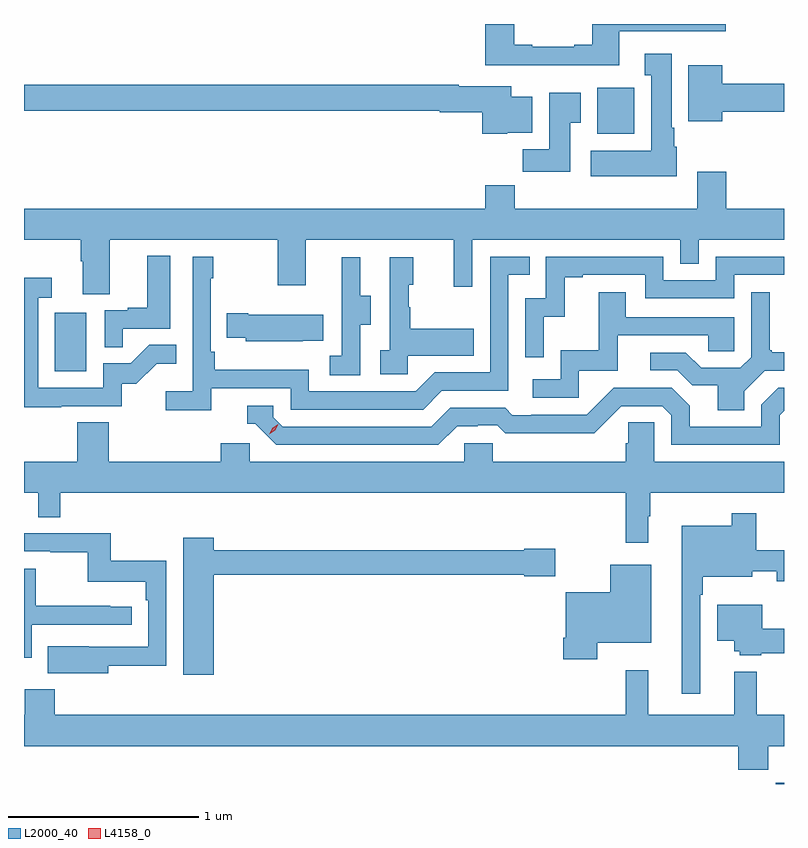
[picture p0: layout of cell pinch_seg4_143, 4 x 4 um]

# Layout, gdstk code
import gdstk
lib = gdstk.Library(unit=1e-6, precision=1e-09)
def R(c, l, rs):  # rectangles x0, y0, x1, y1
    for r in rs: c.add(gdstk.rectangle(r[:2], r[2:], *l))
def P(c, l, *ps):  # polygons
    for p in ps: c.add(gdstk.Polygon(p, *l))
L2000_40 = (2000, 40)
L4158_0 = (4158, 0)

pinch_seg4_143 = lib.new_cell('pinch_seg4_143')
R(pinch_seg4_143, L2000_40, [(1084.42,797.952,1084.463,797.959), (1080.626,800.124,1080.79,800.431), (1083.479,801.374,1083.676,801.616)])
P(pinch_seg4_143, L2000_40, [(1083.595,801.915),(1084.156,801.915),(1084.156,801.952),(1083.455,801.952),(1083.455,801.844),(1083.359,801.844),(1083.359,801.831),(1083.139,801.831),(1083.139,801.844),(1083.043,801.844),(1083.043,801.952),(1082.891,801.952),(1082.891,801.734),(1083.595,801.734)],
  [(1083.898,801.306),(1083.886,801.306),(1083.886,801.406),(1083.871,801.406),(1083.871,801.796),(1083.731,801.796),(1083.731,801.683),(1083.764,801.683),(1083.764,801.286),(1083.447,801.286),(1083.447,801.152),(1083.898,801.152)],
  [(1084.138,801.491),(1084.463,801.491),(1084.463,801.638),(1084.138,801.638),(1084.138,801.736),(1083.959,801.736),(1083.959,801.44),(1084.138,801.44)],
  [(1083.006,801.38),(1083.139,801.38),(1083.139,801.568),(1083.028,801.568),(1083.028,801.625),(1082.752,801.625),(1082.752,801.632),(1080.463,801.632),(1080.463,801.496),(1082.652,801.496),(1082.652,801.488),(1082.876,801.488),(1082.876,801.374),(1083.006,801.374)],
  [(1083.337,801.433),(1083.394,801.433),(1083.394,801.589),(1083.227,801.589),(1083.227,801.292),(1083.088,801.292),(1083.088,801.174),(1083.337,801.174)],
  [(1080.913,800.816),(1081.798,800.816),(1081.798,800.577),(1081.945,800.577),(1081.945,800.816),(1082.726,800.816),(1082.726,800.568),(1082.823,800.568),(1082.823,800.816),(1083.918,800.816),(1083.918,800.689),(1084.014,800.689),(1084.014,800.816),(1084.463,800.816),(1084.463,800.98),(1084.16,800.98),(1084.16,801.175),(1084.007,801.175),(1084.007,800.98),(1083.047,800.98),(1083.047,801.104),(1082.891,801.104),(1082.891,800.98),(1080.463,800.98),(1080.463,800.816),(1080.761,800.816),(1080.761,800.704),(1080.773,800.704),(1080.773,800.53),(1080.913,800.53)],
  [(1080.983,800.349),(1081.234,800.349),(1081.234,800.731),(1081.112,800.731),(1081.112,800.458),(1081.009,800.458),(1081.009,800.445),(1080.888,800.445),(1080.888,800.251),(1080.983,800.251)],
  [(1081.448,800.034),(1081.866,800.034),(1081.866,799.923),(1082.563,799.923),(1082.662,800.022),(1083.012,800.022),(1083.012,800.631),(1083.125,800.631),(1083.125,800.727),(1082.916,800.727),(1082.916,800.118),(1082.625,800.118),(1082.526,800.019),(1081.962,800.019),(1081.962,800.131),(1081.466,800.131),(1081.466,800.227),(1081.446,800.227),(1081.446,800.615),(1081.459,800.615),(1081.459,800.728),(1081.35,800.728),(1081.35,800.02),(1081.209,800.02),(1081.209,799.918),(1081.448,799.918)],
  [(1083.198,800.411),(1083.308,800.411),(1083.308,800.619),(1083.403,800.619),(1083.403,800.631),(1083.732,800.631),(1083.732,800.508),(1084.2,800.508),(1084.2,800.631),(1084.463,800.631),(1084.463,800.727),(1084.104,800.727),(1084.104,800.604),(1083.828,800.604),(1083.828,800.727),(1083.21,800.727),(1083.21,800.508),(1083.102,800.508),(1083.102,800.199),(1083.198,800.199)],
  [(1082.484,800.207),(1082.831,800.207),(1082.831,800.347),(1082.497,800.347),(1082.497,800.462),(1082.487,800.462),(1082.487,800.58),(1082.512,800.58),(1082.512,800.725),(1082.388,800.725),(1082.388,800.234),(1082.337,800.234),(1082.337,800.109),(1082.484,800.109)],
  [(1082.232,800.368),(1082.287,800.368),(1082.287,800.523),(1082.233,800.523),(1082.233,800.725),(1082.135,800.725),(1082.135,800.511),(1082.136,800.511),(1082.136,800.207),(1082.073,800.207),(1082.073,800.104),(1082.232,800.104)],
  [(1080.659,799.941),(1080.978,799.941),(1080.978,800.058),(1081.054,800.058),(1081.161,800.165),(1081.265,800.165),(1081.265,800.264),(1081.122,800.264),(1081.024,800.166),(1080.879,800.166),(1080.879,800.037),(1080.537,800.037),(1080.537,800.511),(1080.61,800.511),(1080.61,800.617),(1080.463,800.617),(1080.463,799.936),(1080.659,799.936)],
  [(1084.255,800.02),(1084.362,800.127),(1084.463,800.127),(1084.463,800.224),(1084.399,800.224),(1084.399,800.236),(1084.387,800.236),(1084.387,800.539),(1084.29,800.539),(1084.29,800.199),(1084.233,800.142),(1084.027,800.142),(1083.946,800.223),(1083.759,800.223),(1083.759,800.13),(1083.9,800.13),(1083.98,800.05),(1084.115,800.05),(1084.115,799.918),(1084.255,799.918)],
  [(1083.384,800.127),(1083.589,800.127),(1083.589,800.313),(1084.063,800.313),(1084.063,800.229),(1084.2,800.229),(1084.2,800.409),(1083.631,800.409),(1083.631,800.539),(1083.487,800.539),(1083.487,800.236),(1083.288,800.236),(1083.288,800.082),(1083.141,800.082),(1083.141,799.986),(1083.384,799.986)],
  [(1081.931,800.285),(1082.039,800.285),(1082.039,800.422),(1081.642,800.422),(1081.642,800.43),(1081.531,800.43),(1081.531,800.3),(1081.629,800.3),(1081.629,800.282),(1081.931,800.282)],
  [(1082.743,799.836),(1082.85,799.836),(1082.85,799.839),(1082.953,799.839),(1082.995,799.797),(1083.228,799.797),(1083.228,799.799),(1083.464,799.799),(1083.606,799.941),(1083.822,799.941),(1083.87,799.893),(1083.87,799.737),(1084.44,799.737),(1084.44,799.893),(1084.463,799.916),(1084.463,800.037),(1084.434,800.037),(1084.344,799.947),(1084.344,799.833),(1083.967,799.833),(1083.967,799.943),(1083.873,800.037),(1083.567,800.037),(1083.426,799.896),(1083.133,799.896),(1083.133,799.893),(1083.034,799.893),(1082.995,799.932),(1082.706,799.932),(1082.607,799.833),(1081.824,799.833),(1081.776,799.881),(1081.776,799.944),(1081.637,799.944),(1081.637,799.848),(1081.68,799.848),(1081.791,799.737),(1082.644,799.737)],
  [(1083.748,799.361),(1083.76,799.361),(1083.76,799.484),(1084.463,799.484),(1084.463,799.648),(1083.78,799.648),(1083.78,799.856),(1083.643,799.856),(1083.643,799.746),(1083.629,799.746),(1083.629,799.648),(1082.931,799.648),(1082.931,799.746),(1082.781,799.746),(1082.781,799.648),(1081.65,799.648),(1081.65,799.746),(1081.499,799.746),(1081.499,799.648),(1080.908,799.648),(1080.908,799.856),(1080.743,799.856),(1080.743,799.648),(1080.463,799.648),(1080.463,799.484),(1080.537,799.484),(1080.537,799.357),(1080.653,799.357),(1080.653,799.484),(1083.631,799.484),(1083.631,799.221),(1083.748,799.221)],
  [(1084.023,798.947),(1084.036,798.947),(1084.036,799.043),(1084.297,799.043),(1084.297,799.073),(1084.424,799.073),(1084.424,799.019),(1084.463,799.019),(1084.463,799.183),(1084.316,799.183),(1084.316,799.378),(1084.188,799.378),(1084.188,799.312),(1083.926,799.312),(1083.926,798.426),(1084.023,798.426)],
  [(1080.907,798.574),(1081.212,798.574),(1081.212,799.126),(1080.919,799.126),(1080.919,799.272),(1080.463,799.272),(1080.463,799.176),(1080.601,799.176),(1080.601,799.171),(1080.798,799.171),(1080.798,799.016),(1081.103,799.016),(1081.103,798.92),(1081.116,798.92),(1081.116,798.675),(1080.803,798.675),(1080.803,798.676),(1080.589,798.676),(1080.589,798.536),(1080.907,798.536)],
  [(1081.462,799.054),(1083.096,799.054),(1083.096,799.046),(1083.259,799.046),(1083.259,799.191),(1083.096,799.191),(1083.096,799.183),(1081.462,799.183),(1081.462,799.249),(1081.301,799.249),(1081.301,798.528),(1081.462,798.528)],
  [(1083.48,798.695),(1083.763,798.695),(1083.763,799.105),(1083.548,799.105),(1083.548,798.961),(1083.314,798.961),(1083.314,798.721),(1083.302,798.721),(1083.302,798.609),(1083.48,798.609)],
  [(1080.504,798.789),(1081.03,798.789),(1081.03,798.885),(1080.917,798.885),(1080.917,798.89),(1080.524,798.89),(1080.524,799.086),(1080.463,799.086),(1080.463,798.617),(1080.504,798.617)],
  [(1084.344,798.64),(1084.463,798.64),(1084.463,798.769),(1084.348,798.769),(1084.348,798.895),(1084.112,798.895),(1084.112,798.707),(1084.202,798.707),(1084.202,798.651),(1084.23,798.651),(1084.23,798.629),(1084.344,798.629)],
  [(1084.379,798.152),(1084.463,798.152),(1084.463,798.316),(1084.319,798.316),(1084.319,798.544),(1084.202,798.544),(1084.202,798.316),(1083.749,798.316),(1083.749,798.55),(1083.631,798.55),(1083.631,798.316),(1080.626,798.316),(1080.626,798.451),(1080.466,798.451),(1080.466,798.316),(1080.463,798.316),(1080.463,798.152),(1084.223,798.152),(1084.223,798.028),(1084.379,798.028)])
P(pinch_seg4_143, L4158_0, [(1081.754,799.794),(1081.754,799.794),(1081.771,799.826),(1081.802,799.845),(1081.802,799.845),(1081.802,799.845),(1081.785,799.813),(1081.754,799.794)])

lib.write_gds('pinch_seg4_143.gds')
